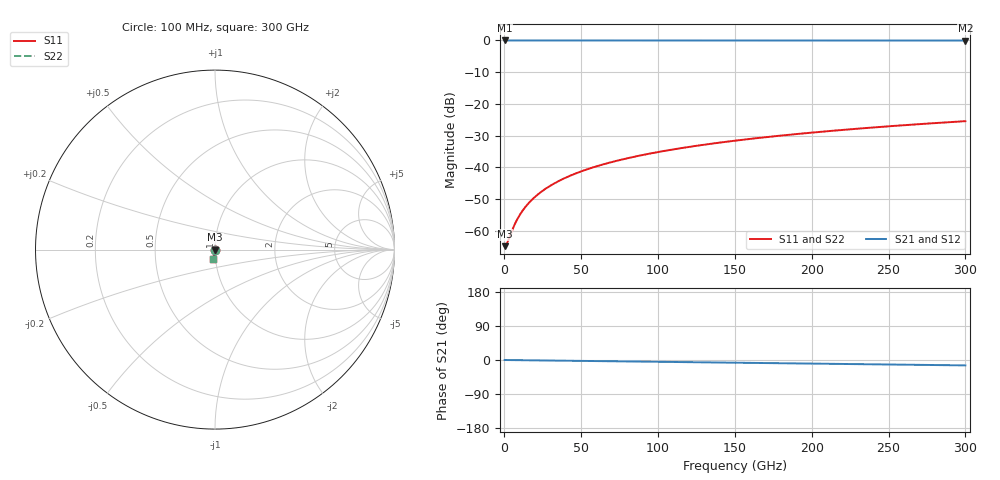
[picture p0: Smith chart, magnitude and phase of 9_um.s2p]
#  Hz  S  RI  R  50
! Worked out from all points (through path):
!   3000 points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, 100 MHz to 300 GHz, reference 50 ohm
!   highest |S21| = -0.01 dB at 100 MHz (marker M1); lowest = 0.0 dB at 300 GHz (marker M2)
!   group delay of S21, straight-line fit = 132 fs
!   lowest |S11| = -64.9 dB at 100 MHz (marker M3), VSWR 1.00, Z = 50.1 - j0.00167 ohm
!   |S11| at or under -10 dB: start of sweep to end of sweep
!   |S22| runs from -64.9 to -25.5 dB; largest |S21 - S12| = 3.9e-05
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1e8  0.000569 -1.67e-05  0.9994 -8.38e-05  0.9994 -8.38e-05  0.00057 -1.67e-05
1e9  0.000569 -0.000167  0.9994 -0.000838  0.9994 -0.000838  0.00057 -0.000167
1.9e9  0.000569 -0.000318  0.9994 -0.00159  0.9994 -0.00159  0.000571 -0.000318
6.4e9  0.000572 -0.00107  0.9994 -0.00536  0.9994 -0.00536  0.000573 -0.00107
8e9  0.000574 -0.00134  0.9994 -0.0067  0.9994 -0.00669  0.000575 -0.00134
9.7e9  0.000576 -0.00163  0.9993 -0.00812  0.9993 -0.00811  0.000577 -0.00163
1.16e10  0.000578 -0.00195  0.9993 -0.0097  0.9993 -0.0097  0.000579 -0.00195
1.36e10  0.00058 -0.00229  0.9993 -0.0114  0.9993 -0.0114  0.000581 -0.00229
1.82e10  0.000584 -0.00307  0.9992 -0.0152  0.9992 -0.0152  0.000584 -0.00307
2.44e10  0.000582 -0.00413  0.9991 -0.0203  0.9991 -0.0203  0.000581 -0.00413
3.17e10  0.00056 -0.0054  0.9989 -0.0263  0.9989 -0.0263  0.000559 -0.0054
4.02e10  0.000503 -0.00689  0.9986 -0.0333  0.9986 -0.0333  0.000502 -0.00688
5.01e10  0.000391 -0.00862  0.9983 -0.0414  0.9983 -0.0414  0.00039 -0.00862
6.04e10  0.000227 -0.0104  0.9979 -0.0499  0.9979 -0.0499  0.000228 -0.0104
7.21e10  -6.22e-06 -0.0125  0.9973 -0.0595  0.9973 -0.0595  -5.5e-06 -0.0125
8.53e10  -0.00032 -0.0148  0.9965 -0.0704  0.9965 -0.0704  -0.000321 -0.0148
1.001e11  -0.000737 -0.0174  0.9954 -0.0825  0.9954 -0.0825  -0.000737 -0.0174
1.235e11  -0.00155 -0.0215  0.9935 -0.1017  0.9935 -0.1017  -0.00155 -0.0215
1.501e11  -0.0027 -0.0261  0.9908 -0.1235  0.9908 -0.1235  -0.0027 -0.0261
2.001e11  -0.00555 -0.0347  0.9843 -0.1643  0.9843 -0.1643  -0.00555 -0.0347
2.501e11  -0.00925 -0.0433  0.976 -0.205  0.976 -0.205  -0.00925 -0.0433
3e11  -0.0138 -0.0515  0.9659 -0.2451  0.9659 -0.2451  -0.0138 -0.0515
